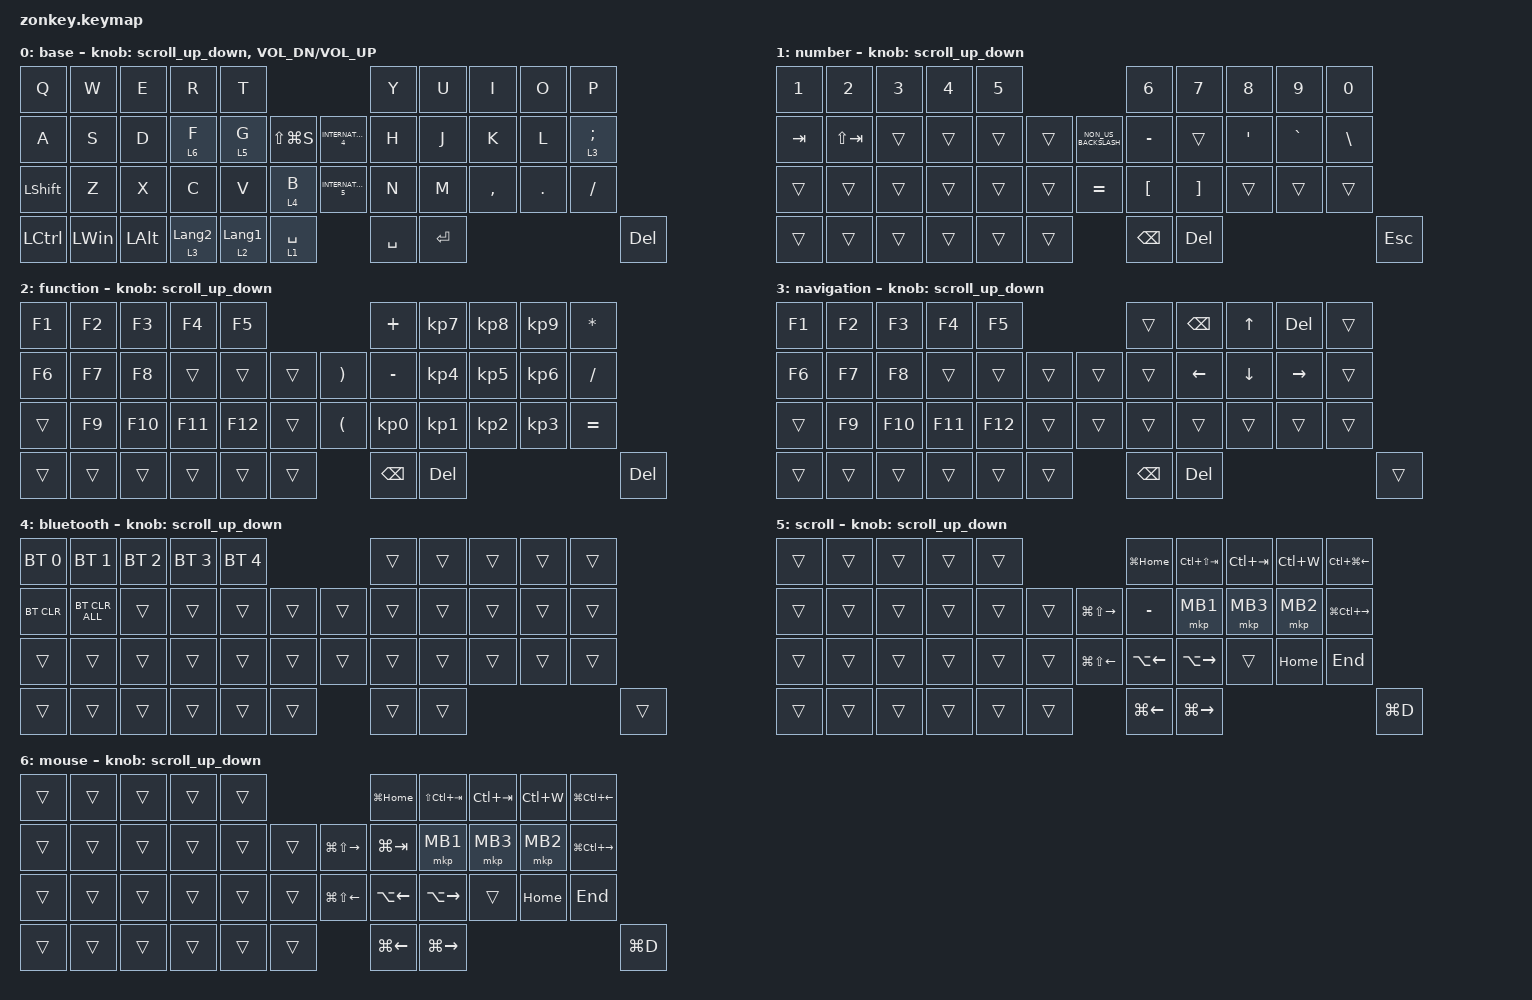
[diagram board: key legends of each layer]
#include <behaviors.dtsi>
#include <dt-bindings/zmk/bt.h>
#include <dt-bindings/zmk/keys.h>
#include <dt-bindings/zmk/pointing.h>

// レイヤー定義

#define BASE 0          // ベースレイヤー
#define NUMBER 1        // 数字・記号レイヤー
#define FUNCTION 2      // ファンクションキー・テンキー
#define NAVIGATION 3    // ナビゲーション
#define BLUETOOTH 4     // Bluetooth設定
#define SCROLL 5        // スクロールレイヤー
#define MOUSE 6         // マウスレイヤー (automouse)

// その他の定義

#define ZMK_POINTING_DEFAULT_SCRL_VAL 100
#define JP_DQUOTE       AT                // "

&mt {
    flavor = "balanced";
    quick-tap-ms = <0>;
};

/ {
    combos { compatible = "zmk,combos"; };

    macros {
        to_layer_0: to_layer_0 {
            compatible = "zmk,behavior-macro-one-param";
            #binding-cells = <1>;
            bindings = <&to 0 &macro_param_1to1 &kp MACRO_PLACEHOLDER>;
            label = "TO_LAYER_0";
        };
    };

    behaviors {
        lt_to_layer_0: lt_to_layer_0 {
            compatible = "zmk,behavior-hold-tap";
            label = "LAYER_TAP_TO_0";
            bindings = <&mo>, <&to_layer_0>;

            #binding-cells = <2>;
            tapping-term-ms = <200>;
        };

        scroll_up_down: behavior_sensor_rotate_mouse_wheel_up_down {
            compatible = "zmk,behavior-sensor-rotate";
            #sensor-binding-cells = <0>;
            bindings = <&msc SCRL_DOWN>, <&msc SCRL_UP>;

            tap-ms = <20>;
        };
    };

    keymap {
        compatible = "zmk,keymap";

        // Layer 0 (BASE): ベースレイヤー

        base {
            // -----------------------------------------------------------------------------------------
            // 基本レイヤー（デフォルト）
            // |  Q  |  W  |  E  |  R  |  T  |                        |  Y  |  U   |  I  |  O  |  P  |
            // |  A  |  S  |  D  |  F  |  G  |LS(LG(S))|        　 | - |  H  |  J   |  K  |  L  |  `  |
            // |SHIFT|  Z  |  X  |  C  |  V  |  B  |           | ; |  N  |  M   |  ,  |  .  |  /  |
            // | CTRL | WIN | ALT |HENKAN|SPACE|MUHENKAN|       | BS | ENT |      　　　　       | DEL |

            bindings = <
&kp Q           &kp W         &kp E         &kp R             &kp T                                                   &kp Y      &kp U      &kp I      &kp O    &kp P
&kp A           &kp S         &kp D         &lt 6 F           &lt 5 G           &kp LS(LG(S))    &kp INTERNATIONAL_4  &kp H      &kp J      &kp K      &kp L    &lt 3 SEMICOLON
&kp LEFT_SHIFT  &kp Z         &kp X         &kp C             &kp V             &lt 4 B          &kp INTERNATIONAL_5  &kp N      &kp M      &kp COMMA  &kp DOT  &kp SLASH
&kp LCTRL       &kp LEFT_WIN  &kp LEFT_ALT  &lt 3 LANGUAGE_2  &lt 2 LANGUAGE_1  &lt 1 SPACE                           &kp SPACE  &kp ENTER                                       &kp DEL
            >;

            sensor-bindings =
                <&scroll_up_down>,
                <&inc_dec_kp C_VOL_DN C_VOL_UP>;
        };

        // Layer 1 (NUMBER): 数字・記号レイヤー

        number {
            // -----------------------------------------------------------------------------------------
            // 数字・記号入力レイヤー（Windows/Mac共通）
            // | 半角/全角 |CAPS|     |     |     |                     |     |     |  -  |  ^  |  ¥  |
            // | TAB |     |     |     |     |     |              |    |     |     |     |  @  |  [  |
            // |SHIFT|     |     |     |     |     |            | 英数 | かな |     |     |     |  ]  |
            // | CTRL| WIN | ALT |HENKAN|SPACE|MUHENKAN|         | BS | ENT |                   | DEL |

            bindings = <
&kp NUMBER_1  &kp NUMBER_2  &kp NUMBER_3  &kp NUMBER_4  &kp NUMBER_5                                  &kp NUMBER_6      &kp NUMBER_7       &kp NUMBER_8  &kp NUMBER_9  &kp NUMBER_0
&kp TAB       &kp LS(TAB)   &trans        &trans        &trans        &trans    &kp NON_US_BACKSLASH  &kp MINUS         &trans             &kp SQT       &kp GRAVE     &kp BACKSLASH
&trans        &trans        &trans        &trans        &trans        &trans    &kp EQUAL             &kp LEFT_BRACKET  &kp RIGHT_BRACKET  &trans        &trans        &trans
&trans        &trans        &trans        &trans        &trans        &trans                          &kp BACKSPACE     &kp DEL                                                       &kp ESCAPE
            >;

            sensor-bindings = <&scroll_up_down>;
        };

        // Layer 2 (FUNCTION): ファンクションキー・テンキーレイヤー

        function {
            // -----------------------------------------------------------------------------------------
            // ファンクションキー・テンキー（Windows/Mac共通）
            // |  1  |  2  |  3  |  4  |  5  |                     |  6  |  7  |  8  |  9  |   0  |
            // |      |     |     |     |     |     |           |    |     |     |     |  ↑  |      |
            // |SHIFT|     |     |     |     |     |           |     |     |     |  ←  |  ↓  |  →  |
            // | CTRL| WIN | ALT |HENKAN|SPACE|MUHENKAN|         | BS | ENT |                   | DEL |

            bindings = <
&kp F1  &kp F2  &kp F3   &kp F4   &kp F5                                    &kp PLUS       &kp KP_N7        &kp KP_N8  &kp KP_N9  &kp ASTERISK
&kp F6  &kp F7  &kp F8   &trans   &trans   &trans    &kp RIGHT_PARENTHESIS  &kp MINUS      &kp KP_NUMBER_4  &kp KP_N5  &kp KP_N6  &kp SLASH
&trans  &kp F9  &kp F10  &kp F11  &kp F12  &trans    &kp LEFT_PARENTHESIS   &kp KP_N0      &kp KP_N1        &kp KP_N2  &kp KP_N3  &kp EQUAL
&trans  &trans  &trans   &trans   &trans   &trans                           &kp BACKSPACE  &kp DELETE                                           &kp DELETE
            >;

            sensor-bindings = <&scroll_up_down>;
        };

        // Layer 3 (NAVIGATION): ナビゲーションレイヤー

        navigation {
            // -----------------------------------------------------------------------------------------
            // ナビゲーションレイヤー（Windows/Mac共通）
            // | F1  | F2  | F3  | F4  | F5  |                     | F6  | F7 | F8  | F9 | F10 |
            // | F11 | F12 |     |     |     |     |           |    |     |     |     |     |      |
            // |SHIFT|     |     |     |     |     |           |     |     |     |     |     |      |
            // | CTRL| WIN | ALT |HENKAN|SPACE|MUHENKAN|         | BS | ENT |                   | DEL |

            bindings = <
&kp F1  &kp F2  &kp F3   &kp F4   &kp F5                     &trans         &kp BACKSPACE  &kp UP_ARROW    &kp DELETE       &trans
&kp F6  &kp F7  &kp F8   &trans   &trans   &trans    &trans  &trans         &kp LEFT       &kp DOWN_ARROW  &kp RIGHT_ARROW  &trans
&trans  &kp F9  &kp F10  &kp F11  &kp F12  &trans    &trans  &trans         &trans         &trans          &trans           &trans
&trans  &trans  &trans   &trans   &trans   &trans            &kp BACKSPACE  &kp DEL                                                 &trans
            >;

            sensor-bindings = <&scroll_up_down>;
        };

        // Layer 4 (BLUETOOTH): Bluetooth設定レイヤー

        bluetooth {
            // -----------------------------------------------------------------------------------------
            // Bluetooth設定レイヤー
            // | BT0 | BT1 | BT2 | BT3 | BT4 |                |     |     |     |     |      |
            // |  BT_CLR  |BT_CLR_ALL|          |          |          |     |      |     |     |     |     |     |      |
            // |  SHIFT   |          |          |          |          |     |           |     |     |     |     |     |      |
            // |  CTRL    |   WIN    |   ALT    | HENKAN   |  SPACE   |MUHENKAN|        | BS | ENT |                  | DEL |

            bindings = <
&bt BT_SEL 0  &bt BT_SEL 1    &bt BT_SEL 2  &bt BT_SEL 3  &bt BT_SEL 4                    &trans  &trans  &trans  &trans  &trans
&bt BT_CLR    &bt BT_CLR_ALL  &trans        &trans        &trans        &trans    &trans  &trans  &trans  &trans  &trans  &trans
&trans        &trans          &trans        &trans        &trans        &trans    &trans  &trans  &trans  &trans  &trans  &trans
&trans        &trans          &trans        &trans        &trans        &trans            &trans  &trans                          &trans
            >;

            sensor-bindings = <&scroll_up_down>;
        };

        // Layer 5 (SCROLL): スクロールレイヤー

        scroll {
            // -----------------------------------------------------------------------------------------
            // スクロール・タブ操作レイヤー (Windows用)
            // U: タブ左移動, I: タブ右移動, O: タブを閉じる
            // N: ブラウザ戻る, M: ブラウザ進む
            // |      |     |     |     |     |                     |     |  U  |  I  |  O  |      |
            // |      |     |     |     |     |     |           |    |     |  J  |  K  |  L  |      |
            // |SHIFT|     |     |     |     |     |          |     |  N  |  M  |     |     |     |      |
            // | CTRL| WIN | ALT |HENKAN|SPACE|MUHENKAN|        | BS | ENT |                  | DEL |

            bindings = <
&trans  &trans  &trans  &trans  &trans                               &kp LG(HOME)        &kp LC(LS(TAB))  &kp LC(TAB)  &kp LC(W)  &kp LC(LG(LEFT))
&trans  &trans  &trans  &trans  &trans  &trans    &kp LG(LS(RIGHT))  &kp MINUS           &mkp MB1         &mkp MB3     &mkp MB2   &kp LG(LC(RIGHT))
&trans  &trans  &trans  &trans  &trans  &trans    &kp LG(LS(LEFT))   &kp LA(LEFT)        &kp LA(RIGHT)    &trans       &kp HOME   &kp END
&trans  &trans  &trans  &trans  &trans  &trans                       &kp LG(LEFT_ARROW)  &kp LG(RIGHT)                                               &kp LG(D)
            >;

            sensor-bindings = <&scroll_up_down>;
        };

        // Layer 6 (MOUSE): マウスレイヤー

        mouse {
            // -----------------------------------------------------------------------------------------
            // マウスレイヤー (automouse自動起動・Windows用)
            // U: タブ左移動, I: タブ右移動, O: タブを閉じる
            // H: アプリ切り替え, N: ブラウザ戻る, M: ブラウザ進む

            bindings = <
&trans  &trans  &trans  &trans  &trans                               &kp LG(HOME)        &kp LS(LC(TAB))  &kp LC(TAB)  &kp LC(W)  &kp LG(LC(LEFT))
&trans  &trans  &trans  &trans  &trans  &trans    &kp LG(LS(RIGHT))  &kp LG(TAB)         &mkp MB1         &mkp MB3     &mkp MB2   &kp LG(LC(RIGHT))
&trans  &trans  &trans  &trans  &trans  &trans    &kp LG(LS(LEFT))   &kp LA(LEFT)        &kp LA(RIGHT)    &trans       &kp HOME   &kp END
&trans  &trans  &trans  &trans  &trans  &trans                       &kp LG(LEFT_ARROW)  &kp LG(RIGHT)                                               &kp LG(D)
            >;

            sensor-bindings = <&scroll_up_down>;
        };
    };
};
